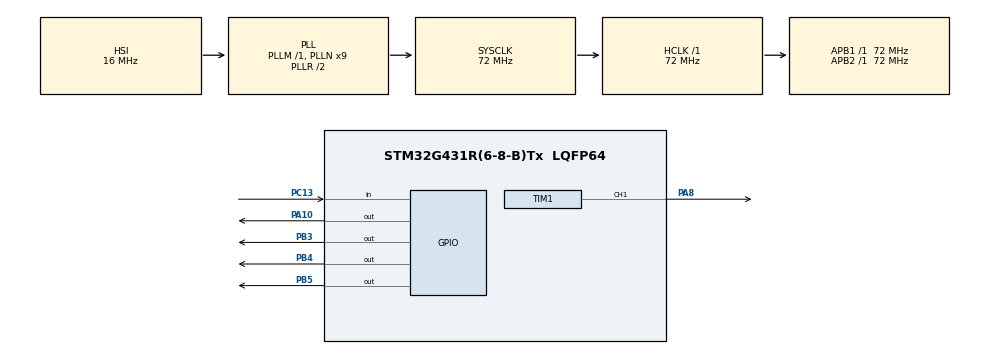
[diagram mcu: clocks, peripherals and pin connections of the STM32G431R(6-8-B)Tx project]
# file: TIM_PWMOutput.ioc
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Mcu.Family=STM32G4
Mcu.Name=STM32G431R(6-8-B)Tx
Mcu.Package=LQFP64
NVIC.PriorityGroup=NVIC_PRIORITYGROUP_4
NVIC.TIM1_TRG_COM_TIM17_IRQn=true\:0\:0\:false\:false\:true\:true\:true\:true
NVIC.TIM3_IRQn=true\:0\:0\:false\:false\:true\:true\:true\:true
PA10.Signal=GPIO_Output
PA13.Mode=Serial_Wire
PA13.Signal=SYS_JTMS-SWDIO
PA14.Mode=Serial_Wire
PA14.Signal=SYS_JTCK-SWCLK
PA8.GPIO_PuPd=GPIO_PULLUP
PA8.GPIO_Speed=GPIO_SPEED_FREQ_VERY_HIGH
PA8.Signal=S_TIM1_CH1
PB3.Signal=GPIO_Output
PB4.Signal=GPIO_Output
PB5.Signal=GPIO_Output
PC13.Signal=GPIO_Input
PC14-OSC32_IN.Mode=LSE-External-Oscillator
PC14-OSC32_IN.Signal=RCC_OSC32_IN
PC15-OSC32_OUT.Mode=LSE-External-Oscillator
PC15-OSC32_OUT.Signal=RCC_OSC32_OUT
PF0-OSC_IN.Mode=HSE-External-Oscillator
PF0-OSC_IN.Signal=RCC_OSC_IN
PF1-OSC_OUT.Mode=HSE-External-Oscillator
PF1-OSC_OUT.Signal=RCC_OSC_OUT
ProjectManager.HeapSize=0x200
ProjectManager.StackSize=0x400
ProjectManager.TargetToolchain=STM32CubeIDE
RCC.ADC12Freq_Value=72000000
RCC.AHBFreq_Value=72000000
RCC.APB1Freq_Value=72000000
RCC.APB1TimFreq_Value=72000000
RCC.APB2Freq_Value=72000000
RCC.APB2TimFreq_Value=72000000
RCC.CortexFreq_Value=72000000
RCC.EXTERNAL_CLOCK_VALUE=12288000
RCC.HCLKFreq_Value=72000000
RCC.HSE_VALUE=24000000
RCC.HSI48_VALUE=48000000
RCC.HSI_VALUE=16000000
RCC.PLLN=9
RCC.SYSCLKFreq_VALUE=72000000
RCC.SYSCLKSource=RCC_SYSCLKSOURCE_PLLCLK
RCC.USBFreq_Value=72000000
RCC.VCOOutputFreq_Value=144000000
SH.S_TIM1_CH1.0=TIM1_CH1,PWM Generation1 CH1
TIM1.AutoReloadPreload=TIM_AUTORELOAD_PRELOAD_ENABLE
TIM1.AutomaticOutput=TIM_AUTOMATICOUTPUT_DISABLE
TIM1.Break2Filter=0
TIM1.Break2Polarity=TIM_BREAK2POLARITY_HIGH
TIM1.Break2State=TIM_BREAK2_DISABLE
TIM1.BreakFilter=0
TIM1.BreakPolarity=TIM_BREAKPOLARITY_HIGH
TIM1.BreakState=TIM_BREAK_DISABLE
TIM1.Channel-PWM\ Generation1\ CH1=TIM_CHANNEL_1
TIM1.ClearInputSource=TIM_CLEARINPUTSOURCE_NONE
TIM1.ClockDivision=TIM_CLOCKDIVISION_DIV1
TIM1.CounterMode=TIM_COUNTERMODE_UP
TIM1.LockLevel=TIM_LOCKLEVEL_OFF
TIM1.OCFastMode_PWM-PWM\ Generation1\ CH1=TIM_OCFAST_DISABLE
TIM1.OCIdleState_1=TIM_OCIDLESTATE_RESET
TIM1.OCMode_PWM-PWM\ Generation1\ CH1=TIM_OCMODE_PWM1
TIM1.OCPolarity_1=TIM_OCPOLARITY_HIGH
TIM1.OffStateIDLEMode=TIM_OSSI_DISABLE
TIM1.OffStateRunMode=TIM_OSSR_DISABLE
TIM1.PeriodNoDither=42500-1
TIM1.Prescaler=1
TIM1.PulseNoDither_1=PULSE1_VALUE
TIM1.RepetitionCounter=0
TIM1.SourceBRK2COMP1=TIM_BREAKINPUTSOURCE_DISABLE
TIM1.SourceBRK2COMP2=TIM_BREAKINPUTSOURCE_DISABLE
TIM1.SourceBRK2DigInput=TIM_BREAKINPUTSOURCE_DISABLE
TIM1.SourceBRKCOMP1=TIM_BREAKINPUTSOURCE_DISABLE
TIM1.SourceBRKCOMP2=TIM_BREAKINPUTSOURCE_DISABLE
TIM1.SourceBRKDigInput=TIM_BREAKINPUTSOURCE_DISABLE
TIM1.TIM_MasterOutputTrigger=TIM_TRGO_RESET
TIM1.TIM_MasterOutputTrigger2=TIM_TRGO2_RESET
TIM1.TIM_MasterSlaveMode=TIM_MASTERSLAVEMODE_DISABLE
TIM17.PeriodNoDither=1
TIM17.Prescaler=40000-1
TIM3.PeriodNoDither=2
TIM3.Prescaler=71
VP_SYS_VS_DBSignals.Mode=DisableDeadBatterySignals
VP_TIM17_VS_ClockSourceINT.Mode=Enable_Timer
VP_TIM3_VS_ClockSourceINT.Mode=Internal
board=NUCLEO-G431RB

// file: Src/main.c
/* USER CODE BEGIN Header */
/**
  ******************************************************************************
  * @file    TIM/TIM_PWMOutput/Src/main.c
  * @author  MCD Application Team
  * @brief   This sample code shows how to use STM32G4xx TIM HAL API to generate
  *          4 signals in PWM.
  ******************************************************************************
  * @attention
  *
  * Copyright (c) 2019-2021 STMicroelectronics.
  * All rights reserved.
  *
  * This software is licensed under terms that can be found in the LICENSE file
  * in the root directory of this software component.
  * If no LICENSE file comes with this software, it is provided AS-IS.
  *
  ******************************************************************************
  */
/* USER CODE END Header */
#include "main.h"

/* USER CODE BEGIN Includes */
#include "stdio.h"
#include "stm32g4xx_hal_tim.h"
#include <stdbool.h>
/* USER CODE END Includes */

/* USER CODE BEGIN PD */
#define DELAY 25
#define LED_PIN_BLUE GPIO_PIN_8
/* USER CODE END PD */

TIM_HandleTypeDef htim1;
TIM_HandleTypeDef htim3;
TIM_HandleTypeDef htim17;

/* USER CODE BEGIN PV */
volatile uint32_t millis, millis2, motor_counter; // Variable to count milliseconds
int buttonFlag, interrupt_flag; // Flag to indicate button press
/* USER CODE END PV */

void SystemClock_Config(void);
static void MX_GPIO_Init(void);
static void MX_TIM1_Init(void);
static void MX_TIM17_Init(void);
static void MX_TIM3_Init(void);

/* USER CODE BEGIN 0 */
static uint32_t counter1;
int sek, milli_in_sek;
bool counter_signal;
void HAL_TIM_PeriodElapsedCallback(TIM_HandleTypeDef *htim) {
	// check if TIMER x is the one responsible the interrupts
	if(htim->Instance == TIM17){
		millis++; // Increment milliseconds counter
		millis2++;
		counter1++;
		interrupt_flag = 1;
		milli_in_sek++;
		if (milli_in_sek == 1000) {
			sek++;
			milli_in_sek = 0;
		}
		if (HAL_GPIO_ReadPin(GPIOC, GPIO_PIN_13) == GPIO_PIN_SET) {
			printf("millisec: %lu\n ", millis);
		} else {
			printf("LED OFF \r\n");
		}
		// Read button state using HAL function
	}
	if(htim->Instance == TIM3){
		counter_signal = true;
	}
}

int duty_cycle;
bool direction = true;
bool pwm_direct = true;
int pwm_cycle;

void PWM_Function() {
	interrupt_flag = 0;
	buttonFlag = (HAL_GPIO_ReadPin(GPIOC, GPIO_PIN_13) == GPIO_PIN_SET);
	if (counter1 > DELAY && buttonFlag) {
		counter1 = 0;
		__HAL_TIM_SET_COMPARE(&htim1, TIM_CHANNEL_1,
		(htim1.Init.Period) * pwm_cycle / 100);
		if (pwm_cycle < 100 && pwm_direct == true) {
			pwm_cycle++;
			pwm_direct = true;
		}
		else if (pwm_cycle > 0 && pwm_direct == false) {
			pwm_cycle--;
			pwm_direct = false;
		}
		else if (pwm_cycle == 100) {
			pwm_cycle--;
			pwm_direct = false;
		}
		else if (pwm_cycle == 0) {
			pwm_cycle++;
			pwm_direct = true;
		}

	}
}

#define stepsperrev 4096

void stepper_set_rpm (int rpm){

	if(__HAL_TIM_GET_COUNTER(&htim17)/1000 > (60000000/stepsperrev/rpm)) {
		__HAL_TIM_SET_COUNTER(&htim17, 0);
		}
	else{
		return;
	}
}

void stepper_half_drive (int step) {
	switch (step) {
	case 0:
		HAL_GPIO_WritePin(GPIOA, GPIO_PIN_10, GPIO_PIN_SET);
		HAL_GPIO_WritePin(GPIOB, GPIO_PIN_3, GPIO_PIN_RESET);
		HAL_GPIO_WritePin(GPIOB, GPIO_PIN_5, GPIO_PIN_RESET);
		HAL_GPIO_WritePin(GPIOB, GPIO_PIN_4, GPIO_PIN_RESET);
		break;
	case 1:
		HAL_GPIO_WritePin(GPIOA, GPIO_PIN_10, GPIO_PIN_SET);
		HAL_GPIO_WritePin(GPIOB, GPIO_PIN_3, GPIO_PIN_SET);
		HAL_GPIO_WritePin(GPIOB, GPIO_PIN_5, GPIO_PIN_RESET);
		HAL_GPIO_WritePin(GPIOB, GPIO_PIN_4, GPIO_PIN_RESET);
		break;
	case 2:
		HAL_GPIO_WritePin(GPIOA, GPIO_PIN_10, GPIO_PIN_RESET);
		HAL_GPIO_WritePin(GPIOB, GPIO_PIN_3, GPIO_PIN_SET);
		HAL_GPIO_WritePin(GPIOB, GPIO_PIN_5, GPIO_PIN_RESET);
		HAL_GPIO_WritePin(GPIOB, GPIO_PIN_4, GPIO_PIN_RESET);
		break;
	case 3:
		HAL_GPIO_WritePin(GPIOA, GPIO_PIN_10, GPIO_PIN_RESET);
		HAL_GPIO_WritePin(GPIOB, GPIO_PIN_3, GPIO_PIN_SET);
		HAL_GPIO_WritePin(GPIOB, GPIO_PIN_5, GPIO_PIN_SET);
		HAL_GPIO_WritePin(GPIOB, GPIO_PIN_4, GPIO_PIN_RESET);
		break;
	case 4:
		HAL_GPIO_WritePin(GPIOA, GPIO_PIN_10, GPIO_PIN_RESET);
		HAL_GPIO_WritePin(GPIOB, GPIO_PIN_3, GPIO_PIN_RESET);
		HAL_GPIO_WritePin(GPIOB, GPIO_PIN_5, GPIO_PIN_SET);
		HAL_GPIO_WritePin(GPIOB, GPIO_PIN_4, GPIO_PIN_RESET);
		break;
	case 5:
		HAL_GPIO_WritePin(GPIOA, GPIO_PIN_10, GPIO_PIN_RESET);
		HAL_GPIO_WritePin(GPIOB, GPIO_PIN_3, GPIO_PIN_RESET);
		HAL_GPIO_WritePin(GPIOB, GPIO_PIN_5, GPIO_PIN_SET);
		HAL_GPIO_WritePin(GPIOB, GPIO_PIN_4, GPIO_PIN_SET);
		break;
	case 6:
		HAL_GPIO_WritePin(GPIOA, GPIO_PIN_10, GPIO_PIN_RESET);
		HAL_GPIO_WritePin(GPIOB, GPIO_PIN_3, GPIO_PIN_RESET);
		HAL_GPIO_WritePin(GPIOB, GPIO_PIN_5, GPIO_PIN_RESET);
		HAL_GPIO_WritePin(GPIOB, GPIO_PIN_4, GPIO_PIN_SET);
		break;
	case 7:
		HAL_GPIO_WritePin(GPIOA, GPIO_PIN_10, GPIO_PIN_SET);
		HAL_GPIO_WritePin(GPIOB, GPIO_PIN_3, GPIO_PIN_RESET);
		HAL_GPIO_WritePin(GPIOB, GPIO_PIN_5, GPIO_PIN_RESET);
		HAL_GPIO_WritePin(GPIOB, GPIO_PIN_4, GPIO_PIN_SET);
		break;
	}
}
int period;
int halfstep;
/* USER CODE END 0 */

int main(void)
{
  /* USER CODE BEGIN 1 */

  /* STM32G4xx HAL library initialization:
       - Configure the Flash prefetch
       - Systick timer is configured by default as source of time base, but user
         can eventually implement his proper time base source (a general purpose
         timer for example or other time source), keeping in mind that Time base
         duration should be kept 1ms since PPP_TIMEOUT_VALUEs are defined and
         handled in milliseconds basis.
       - Set NVIC Group Priority to 4
       - Low Level Initialization
     */
  /* USER CODE END 1 */

  /* MCU Configuration--------------------------------------------------------*/

  /* Reset of all peripherals, Initializes the Flash interface and the Systick. */
  HAL_Init();

  /* Configure the system clock */
  SystemClock_Config();

  /* USER CODE BEGIN SysInit */

  /* Configure LED2 */
  BSP_LED_Init(LED2);

  /* USER CODE END SysInit */

  /* Initialize all configured peripherals */
  MX_GPIO_Init();
  MX_TIM1_Init();
  MX_TIM17_Init();
  MX_TIM3_Init();
  /* USER CODE BEGIN 2 */

/*## Start PWM signals generation #######################################*/
  /* Start channel 1 */
  if (HAL_TIM_PWM_Start(&htim1, TIM_CHANNEL_1) != HAL_OK)
  {
    /* PWM Generation Error */
    Error_Handler();
  }

	HAL_TIM_Base_Init(&htim1);
	HAL_TIM_Base_Start_IT(&htim17);
	HAL_TIM_Base_Start_IT(&htim3);
	HAL_TIM_PWM_Start(&htim1, TIM_CHANNEL_1);

  /* USER CODE END 2 */

  /* Infinite loop */
  /* USER CODE BEGIN WHILE */
  while (1) {

	if(interrupt_flag == 1) {
		PWM_Function();
	}
	if(counter_signal) {
		counter_signal = false;
		if (period < 9) {
			period ++;
			if(halfstep < 8){

				stepper_half_drive(halfstep);
				//stepper_set_rpm(0);
			}
			else {
				halfstep = 0;
			}
		}
		else {
			halfstep ++;
			period = 0;
		}
	}
}

    /* USER CODE END WHILE */

}

void SystemClock_Config(void)
{
  RCC_OscInitTypeDef RCC_OscInitStruct = {0};
  RCC_ClkInitTypeDef RCC_ClkInitStruct = {0};

  /** Configure the main internal regulator output voltage
  */
  HAL_PWREx_ControlVoltageScaling(PWR_REGULATOR_VOLTAGE_SCALE1);

  /** Initializes the RCC Oscillators according to the specified parameters
  * in the RCC_OscInitTypeDef structure.
  */
  RCC_OscInitStruct.OscillatorType = RCC_OSCILLATORTYPE_HSI;
  RCC_OscInitStruct.HSIState = RCC_HSI_ON;
  RCC_OscInitStruct.HSICalibrationValue = RCC_HSICALIBRATION_DEFAULT;
  RCC_OscInitStruct.PLL.PLLState = RCC_PLL_ON;
  RCC_OscInitStruct.PLL.PLLSource = RCC_PLLSOURCE_HSI;
  RCC_OscInitStruct.PLL.PLLM = RCC_PLLM_DIV1;
  RCC_OscInitStruct.PLL.PLLN = 9;
  RCC_OscInitStruct.PLL.PLLP = RCC_PLLP_DIV2;
  RCC_OscInitStruct.PLL.PLLQ = RCC_PLLQ_DIV2;
  RCC_OscInitStruct.PLL.PLLR = RCC_PLLR_DIV2;
  if (HAL_RCC_OscConfig(&RCC_OscInitStruct) != HAL_OK)
  {
    Error_Handler();
  }

  /** Initializes the CPU, AHB and APB buses clocks
  */
  RCC_ClkInitStruct.ClockType = RCC_CLOCKTYPE_HCLK|RCC_CLOCKTYPE_SYSCLK
                              |RCC_CLOCKTYPE_PCLK1|RCC_CLOCKTYPE_PCLK2;
  RCC_ClkInitStruct.SYSCLKSource = RCC_SYSCLKSOURCE_PLLCLK;
  RCC_ClkInitStruct.AHBCLKDivider = RCC_SYSCLK_DIV1;
  RCC_ClkInitStruct.APB1CLKDivider = RCC_HCLK_DIV1;
  RCC_ClkInitStruct.APB2CLKDivider = RCC_HCLK_DIV1;

  if (HAL_RCC_ClockConfig(&RCC_ClkInitStruct, FLASH_LATENCY_2) != HAL_OK)
  {
    Error_Handler();
  }
}

static void MX_TIM1_Init(void)
{

  TIM_MasterConfigTypeDef sMasterConfig = {0};
  TIM_OC_InitTypeDef sConfigOC = {0};
  TIM_BreakDeadTimeConfigTypeDef sBreakDeadTimeConfig = {0};

  htim1.Instance = TIM1;
  htim1.Init.Prescaler = 1;
  htim1.Init.CounterMode = TIM_COUNTERMODE_UP;
  htim1.Init.Period = 42499;
  htim1.Init.ClockDivision = TIM_CLOCKDIVISION_DIV1;
  htim1.Init.RepetitionCounter = 0;
  htim1.Init.AutoReloadPreload = TIM_AUTORELOAD_PRELOAD_ENABLE;
  if (HAL_TIM_PWM_Init(&htim1) != HAL_OK)
  {
    Error_Handler();
  }
  sMasterConfig.MasterOutputTrigger = TIM_TRGO_RESET;
  sMasterConfig.MasterOutputTrigger2 = TIM_TRGO2_RESET;
  sMasterConfig.MasterSlaveMode = TIM_MASTERSLAVEMODE_DISABLE;
  if (HAL_TIMEx_MasterConfigSynchronization(&htim1, &sMasterConfig) != HAL_OK)
  {
    Error_Handler();
  }
  sConfigOC.OCMode = TIM_OCMODE_PWM1;
  sConfigOC.Pulse = PULSE1_VALUE;
  sConfigOC.OCPolarity = TIM_OCPOLARITY_HIGH;
  sConfigOC.OCNPolarity = TIM_OCNPOLARITY_HIGH;
  sConfigOC.OCFastMode = TIM_OCFAST_DISABLE;
  sConfigOC.OCIdleState = TIM_OCIDLESTATE_RESET;
  sConfigOC.OCNIdleState = TIM_OCNIDLESTATE_RESET;
  if (HAL_TIM_PWM_ConfigChannel(&htim1, &sConfigOC, TIM_CHANNEL_1) != HAL_OK)
  {
    Error_Handler();
  }
  sBreakDeadTimeConfig.OffStateRunMode = TIM_OSSR_DISABLE;
  sBreakDeadTimeConfig.OffStateIDLEMode = TIM_OSSI_DISABLE;
  sBreakDeadTimeConfig.LockLevel = TIM_LOCKLEVEL_OFF;
  sBreakDeadTimeConfig.DeadTime = 0;
  sBreakDeadTimeConfig.BreakState = TIM_BREAK_DISABLE;
  sBreakDeadTimeConfig.BreakPolarity = TIM_BREAKPOLARITY_HIGH;
  sBreakDeadTimeConfig.BreakFilter = 0;
  sBreakDeadTimeConfig.BreakAFMode = TIM_BREAK_AFMODE_INPUT;
  sBreakDeadTimeConfig.Break2State = TIM_BREAK2_DISABLE;
  sBreakDeadTimeConfig.Break2Polarity = TIM_BREAK2POLARITY_HIGH;
  sBreakDeadTimeConfig.Break2Filter = 0;
  sBreakDeadTimeConfig.Break2AFMode = TIM_BREAK_AFMODE_INPUT;
  sBreakDeadTimeConfig.AutomaticOutput = TIM_AUTOMATICOUTPUT_DISABLE;
  if (HAL_TIMEx_ConfigBreakDeadTime(&htim1, &sBreakDeadTimeConfig) != HAL_OK)
  {
    Error_Handler();
  }
  HAL_TIM_MspPostInit(&htim1);

}

static void MX_TIM3_Init(void)
{

  TIM_ClockConfigTypeDef sClockSourceConfig = {0};
  TIM_MasterConfigTypeDef sMasterConfig = {0};

  htim3.Instance = TIM3;
  htim3.Init.Prescaler = 71;
  htim3.Init.CounterMode = TIM_COUNTERMODE_UP;
  htim3.Init.Period = 2;
  htim3.Init.ClockDivision = TIM_CLOCKDIVISION_DIV1;
  htim3.Init.AutoReloadPreload = TIM_AUTORELOAD_PRELOAD_DISABLE;
  if (HAL_TIM_Base_Init(&htim3) != HAL_OK)
  {
    Error_Handler();
  }
  sClockSourceConfig.ClockSource = TIM_CLOCKSOURCE_INTERNAL;
  if (HAL_TIM_ConfigClockSource(&htim3, &sClockSourceConfig) != HAL_OK)
  {
    Error_Handler();
  }
  sMasterConfig.MasterOutputTrigger = TIM_TRGO_RESET;
  sMasterConfig.MasterSlaveMode = TIM_MASTERSLAVEMODE_DISABLE;
  if (HAL_TIMEx_MasterConfigSynchronization(&htim3, &sMasterConfig) != HAL_OK)
  {
    Error_Handler();
  }

}

static void MX_TIM17_Init(void)
{

  htim17.Instance = TIM17;
  htim17.Init.Prescaler = 40000-1;
  htim17.Init.CounterMode = TIM_COUNTERMODE_UP;
  htim17.Init.Period = 1;
  htim17.Init.ClockDivision = TIM_CLOCKDIVISION_DIV1;
  htim17.Init.RepetitionCounter = 0;
  htim17.Init.AutoReloadPreload = TIM_AUTORELOAD_PRELOAD_DISABLE;
  if (HAL_TIM_Base_Init(&htim17) != HAL_OK)
  {
    Error_Handler();
  }

}

static void MX_GPIO_Init(void)
{
  GPIO_InitTypeDef GPIO_InitStruct = {0};

  /* GPIO Ports Clock Enable */
  __HAL_RCC_GPIOC_CLK_ENABLE();
  __HAL_RCC_GPIOF_CLK_ENABLE();
  __HAL_RCC_GPIOA_CLK_ENABLE();
  __HAL_RCC_GPIOB_CLK_ENABLE();

  /*Configure GPIO pin Output Level */
  HAL_GPIO_WritePin(GPIOA, GPIO_PIN_10, GPIO_PIN_RESET);

  /*Configure GPIO pin Output Level */
  HAL_GPIO_WritePin(GPIOB, GPIO_PIN_3|GPIO_PIN_4|GPIO_PIN_5, GPIO_PIN_RESET);

  /*Configure GPIO pin : PC13 */
  GPIO_InitStruct.Pin = GPIO_PIN_13;
  GPIO_InitStruct.Mode = GPIO_MODE_INPUT;
  GPIO_InitStruct.Pull = GPIO_NOPULL;
  HAL_GPIO_Init(GPIOC, &GPIO_InitStruct);

  /*Configure GPIO pin : PA10 */
  GPIO_InitStruct.Pin = GPIO_PIN_10;
  GPIO_InitStruct.Mode = GPIO_MODE_OUTPUT_PP;
  GPIO_InitStruct.Pull = GPIO_NOPULL;
  GPIO_InitStruct.Speed = GPIO_SPEED_FREQ_LOW;
  HAL_GPIO_Init(GPIOA, &GPIO_InitStruct);

  /*Configure GPIO pins : PB3 PB4 PB5 */
  GPIO_InitStruct.Pin = GPIO_PIN_3|GPIO_PIN_4|GPIO_PIN_5;
  GPIO_InitStruct.Mode = GPIO_MODE_OUTPUT_PP;
  GPIO_InitStruct.Pull = GPIO_NOPULL;
  GPIO_InitStruct.Speed = GPIO_SPEED_FREQ_LOW;
  HAL_GPIO_Init(GPIOB, &GPIO_InitStruct);

}

void Error_Handler(void)
{
  /* USER CODE BEGIN Error_Handler_Debug */
  /* Turn LED2 on */
  BSP_LED_On(LED2);
  while(1)
  {
  }
  /* USER CODE END Error_Handler_Debug */
}
